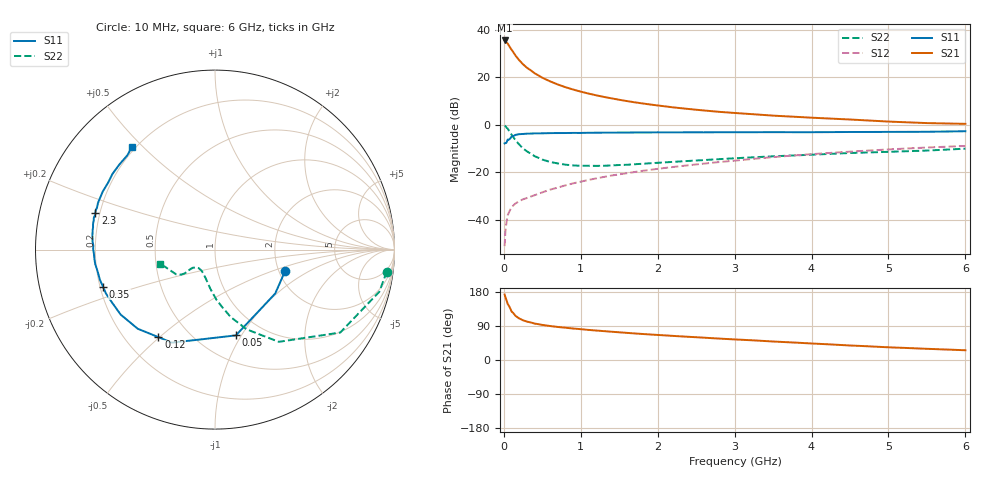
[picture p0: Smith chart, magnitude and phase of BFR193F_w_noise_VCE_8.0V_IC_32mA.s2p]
! Infineon Technologies  Discrete & RF Semiconductors
! BFR193F
! VCE =  8.0 V,  IC =  32 mA
! Common Emitter S-Parameters:  Jan 2017
# GHz  S  MA  R  50
!  f  S11  S21  S12  S22
! GHz  MAG  ANG  MAG  ANG  MAG  ANG  MAG  ANG
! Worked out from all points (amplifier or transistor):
!   77 points, 10 MHz to 6 GHz, reference 50 ohm
!   highest |S21| = 35.6 dB at 10 MHz (marker M1)
!   |S21| within 3 dB of that: start of sweep to 82.17 MHz
!   unconditionally stable (mu >= 1): 1.146 GHz to 2.665 GHz
!   at 130 MHz: K = 0.37, MSG = 32.0 dB, |S12| = -33.7 dB
!   at 2.2 GHz: K = 1.02, MAG = 11.7 dB, |S12| = -17.7 dB
!   at 6 GHz: K = 0.85, MSG = 4.7 dB, |S12| = -8.8 dB
!   lowest NFmin = 1.21 dB at 450 MHz
!   S11 on the Smith chart (normalised r, x): 10 MHz: 2.15, -0.63; 50 MHz: 0.75, -0.95; 120 MHz: 0.34, -0.50; 350 MHz: 0.21, -0.15; 2.3 GHz: 0.18, +0.15; 6 GHz: 0.19, +0.47
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0.01  0.4082 -17.3  60.03 172.8  0.0028 81.4  0.9645 -7.3
0.02  0.4153 -36.1  58.6 165.7  0.0056 80.3  0.9452 -14.4
0.05  0.4919 -76.3  51.56 148.1  0.0125 65.6  0.837 -33.5
0.1  0.5713 -114.8  38.46 128.1  0.0184 54.4  0.625 -55.3
0.12  0.581 -122.9  34.57 124.3  0.0199 52.4  0.5631 -59.7
0.15  0.6162 -134.3  29.11 116.8  0.0221 50.0  0.4784 -68.3
0.2  0.6382 -145.4  23.03 109.6  0.0249 49.3  0.3867 -76.8
0.25  0.6453 -153.0  18.89 104.8  0.0272 49.1  0.3192 -83.3
0.3  0.6549 -158.0  16.02 101.3  0.0289 51.5  0.2777 -88.6
0.35  0.6576 -161.7  14.1 99.1  0.031 53.5  0.2483 -92.2
0.4  0.6629 -165.3  12.22 96.1  0.0331 55.3  0.2201 -96.7
0.5  0.6655 -169.7  9.858 92.6  0.038 58.7  0.1865 -103.0
0.6  0.6724 -173.2  8.276 89.7  0.0433 61.0  0.1663 -108.6
0.8  0.675 -178.1  6.236 85.2  0.0534 64.9  0.1457 -118.0
1.1  0.6835 176.3  4.575 79.4  0.0695 68.7  0.1381 -127.2
1.5  0.6903 171.0  3.385 73.1  0.091 70.8  0.1433 -135.5
2.1  0.6966 164.6  2.455 64.9  0.1245 71.9  0.163 -140.9
2.3  0.6974 162.8  2.254 62.4  0.1357 71.8  0.1705 -141.4
3.1  0.7022 156.0  1.741 53.3  0.1833 71.0  0.2025 -141.6
4.1  0.7038 147.1  1.396 42.6  0.2484 67.9  0.2399 -144.5
5.1  0.7136 137.2  1.159 32.7  0.3107 62.7  0.2747 -155.1
6  0.7365 128.8  1.054 25.7  0.3611 57.6  0.3162 -165.8
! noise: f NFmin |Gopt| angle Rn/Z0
0.45  1.21  0.4  177  0.06
0.9  1.3  0.43  177  0.07
1.9  1.86  0.58  -167  0.07
2.4  2.15  0.61  -158  0.12
